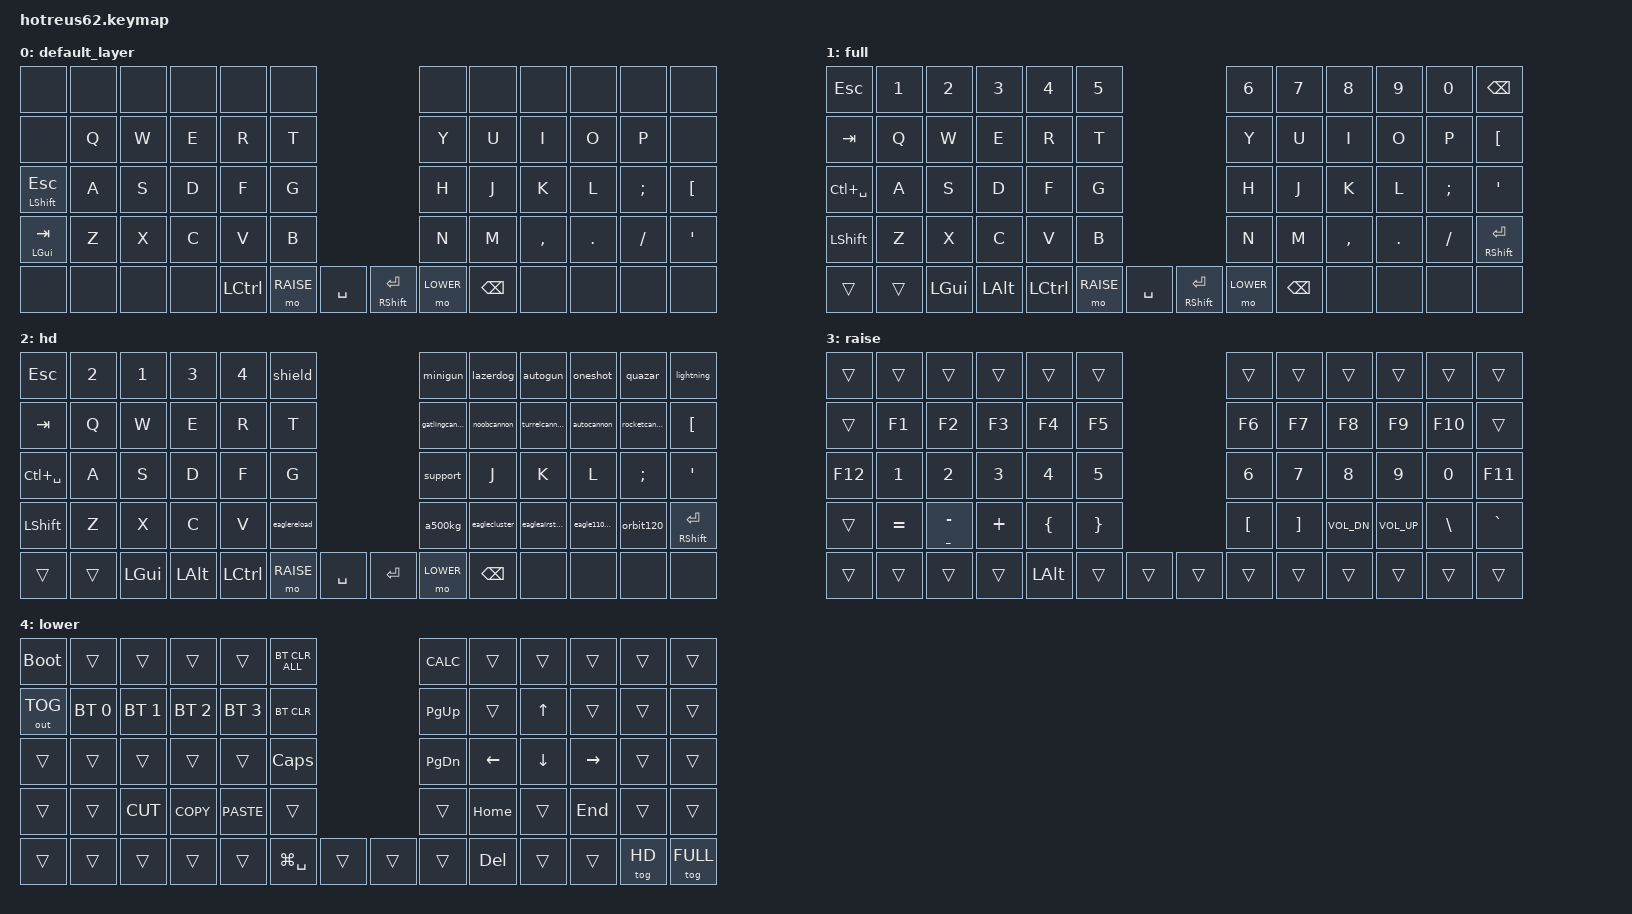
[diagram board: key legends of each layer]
/*
 * Copyright (c) 2022 The ZMK Contributors
 *
 * SPDX-License-Identifier: MIT
 */

#include <behaviors.dtsi>
#include <dt-bindings/zmk/keys.h>
#include <dt-bindings/zmk/bt.h>
#include <dt-bindings/zmk/outputs.h>

#define NONE 0
#define FULL 1
#define HD 2
#define RAISE 3
#define LOWER 4

// #define SOME_THING 4 // need to update this layer what should this be called??
// #define MEDIA 5
// #define FUNC 6

/ {
    macros {
        support: support {
            compatible = "zmk,behavior-macro";
            #binding-cells = <0>;
            bindings
                = <&macro_press &kp LCTRL>
                , <&macro_tap &kp W &kp S &kp D &kp A &kp W>
                , <&macro_release &kp LCTRL>
                ;
        };
        minigun: minigun {
            compatible = "zmk,behavior-macro";
            #binding-cells = <0>;
            bindings
                = <&macro_press &kp LCTRL>
                , <&macro_tap &kp S &kp A &kp S &kp W &kp D>
                , <&macro_release &kp LCTRL>
                ;
        };
        autogun: autogun {
            compatible = "zmk,behavior-macro";
            #binding-cells = <0>;
            bindings
                = <&macro_press &kp LCTRL>
                , <&macro_tap &kp S &kp A &kp S &kp W &kp W &kp D>
                , <&macro_release &kp LCTRL>
                ;
        };
        quazar: quazar {
            compatible = "zmk,behavior-macro";
            #binding-cells = <0>;
            bindings
                = <&macro_press &kp LCTRL>
                , <&macro_tap &kp S &kp S &kp W &kp A &kp D>
                , <&macro_release &kp LCTRL>
                ;
        };
        lightning: lightning {
            compatible = "zmk,behavior-macro";
            #binding-cells = <0>;
            bindings
                = <&macro_press &kp LCTRL>
                , <&macro_tap &kp S &kp D &kp S &kp W &kp A &kp A>
                , <&macro_release &kp LCTRL>
                ;
        };
        lazerdog: lazerdog {
            compatible = "zmk,behavior-macro";
            #binding-cells = <0>;
            bindings
                = <&macro_press &kp LCTRL>
                , <&macro_tap &kp S &kp W &kp A &kp W &kp D &kp D>
                , <&macro_release &kp LCTRL>
                ;
        };
        shield: shield {
            compatible = "zmk,behavior-macro";
            #binding-cells = <0>;
            bindings
                = <&macro_press &kp LCTRL>
                , <&macro_tap &kp S &kp W &kp A &kp D &kp A &kp D>
                , <&macro_release &kp LCTRL>
                ;
        };
        oneshot: oneshot {
            compatible = "zmk,behavior-macro";
            #binding-cells = <0>;
            bindings 
                = <&macro_press &kp LCTRL>
                , <&macro_tap &kp S &kp S &kp A &kp W &kp D>
                , <&macro_release &kp LCTRL>
                ;
        };
        gatlingcannon: gatlingcannon {
            compatible = "zmk,behavior-macro";
            #binding-cells = <0>;
            bindings
                = <&macro_press &kp LCTRL>
                , <&macro_tap &kp S &kp W &kp D &kp A>
                , <&macro_release &kp LCTRL>
                ;
        };
        noobcannon: noobcannon {
            compatible = "zmk,behavior-macro";
            #binding-cells = <0>;
            bindings
                = <&macro_press &kp LCTRL>
                , <&macro_tap &kp S &kp W &kp D &kp D &kp S>
                , <&macro_release &kp LCTRL>
                ;
        };
        turrelcannon: turrelcannon {
            compatible = "zmk,behavior-macro";
            #binding-cells = <0>;
            bindings
                = <&macro_press &kp LCTRL>
                , <&macro_tap &kp S &kp W &kp D &kp D &kp W>
                , <&macro_release &kp LCTRL>
                ;
        };
        autocannon: autocannon {
            compatible = "zmk,behavior-macro";
            #binding-cells = <0>;
            bindings
                = <&macro_press &kp LCTRL>
                , <&macro_tap &kp S &kp W &kp D &kp W &kp A &kp W>
                , <&macro_release &kp LCTRL>
                ;
        };
        rocketcannon: rocketcannon {
            compatible = "zmk,behavior-macro";
            #binding-cells = <0>;
            bindings
                = <&macro_press &kp LCTRL>
                , <&macro_tap &kp S &kp W &kp D &kp D &kp A>
                , <&macro_release &kp LCTRL>
                ;
        };
        eaglereload: eaglereload {
            compatible = "zmk,behavior-macro";
            #binding-cells = <0>;
            bindings
                = <&macro_press &kp LCTRL>
                , <&macro_tap &kp W &kp W &kp A &kp W &kp D>
                , <&macro_release &kp LCTRL>
                ;
        };
        eaglecluster: eaglecluster {
            compatible = "zmk,behavior-macro";
            #binding-cells = <0>;
            bindings
                = <&macro_press &kp LCTRL>
                , <&macro_tap &kp W &kp D &kp S &kp S &kp D>
                , <&macro_release &kp LCTRL>
                ;
        };
        eagleairstrike: eagleairstrike {
            compatible = "zmk,behavior-macro";
            #binding-cells = <0>;
            bindings
                = <&macro_press &kp LCTRL>
                , <&macro_tap &kp W &kp D &kp S &kp D>
                , <&macro_release &kp LCTRL>
                ;
        };
        eagle110mm: eagle110mm {
            compatible = "zmk,behavior-macro";
            #binding-cells = <0>;
            bindings
                = <&macro_press &kp LCTRL>
                , <&macro_tap &kp W &kp D &kp W &kp A>
                , <&macro_release &kp LCTRL>
                ;
        };
        orbit120: orbit120 {
            compatible = "zmk,behavior-macro";
            #binding-cells = <0>;
            bindings
                = <&macro_press &kp LCTRL>
                , <&macro_tap &kp D &kp D &kp S &kp A &kp D &kp S>
                , <&macro_release &kp LCTRL>
                ;
        };
        a500kg: a500kg {
            compatible = "zmk,behavior-macro";
            #binding-cells = <0>;
            bindings
                = <&macro_press &kp LCTRL>
                , <&macro_tap &kp W &kp D &kp S &kp S &kp S>
                , <&macro_release &kp LCTRL>
                ;
        };
    };
};

/ {
    keymap {
        compatible = "zmk,keymap";

        default_layer {
            // -------------------------------------------------------------------------------------------------------------------
            // |       |      |      |      |      |        |-----------|-----------|       |       |      |      |       |      |
            // |       |  Q   |  W   |  E   |  R   |  T     |-----------|-----------|   Y   |  U    |  I   |  O   |   P   |      |
            // |SHF/ESC|  A   |  S   |  D   |  F   |  G     |-----------|-----------|   H   |  J    |  K   |  L   |   ;   |  [   |
            // |TAB/GUI|  Z   |  X   |  C   |  V   |  B     |-----------|-----------|   N   |  M    |  ,   |  .   |   /   |  '   |
            // |       |      |      |      | LCTRL| RAISE  | SPACE     | ENT/SHIFT | LOWER |BKSPACE|      |      |       | FULL |
            bindings = <
                &none          &none  &none    &none    &none      &none                               &none      &none         &none     &none     &none     &none 
                &none          &kp Q  &kp W    &kp E    &kp R      &kp T                               &kp Y      &kp U         &kp I     &kp O     &kp P     &none
                &mt LSHIFT ESC &kp A  &kp S    &kp D    &kp F      &kp G                               &kp H      &kp J         &kp K     &kp L     &kp SEMI  &kp LBKT
                &mt LGUI TAB   &kp Z  &kp X    &kp C    &kp V      &kp B                               &kp N      &kp M         &kp COMMA &kp DOT   &kp FSLH  &kp SQT
                &none          &none  &none    &none    &kp LCTRL  &mo RAISE &kp SPACE &mt RSHFT ENTER &mo LOWER  &kp BACKSPACE &none     &none     &none     &none
            >;
        };

        full {
            // ---------------------------------------------------------------------------------------------------------------
            // |  ESC  |  1   |  2   |  3   |  4   |  5     |-------|-------|   6   |  7    |  8   |  9   |   0   |BACKSPACE |
            // |  TAB  |  Q   |  W   |  E   |  R   |  T     |-------|-------|   Y   |  U    |  I   |  O   |   P   |  [       |
            // | LANG  |  A   |  S   |  D   |  F   |  G     |-------|-------|   H   |  J    |  K   |  L   |   ;   |  '       |
            // | SHIFT |  Z   |  X   |  C   |  V   |  B     |-------|-------|   N   |  M    |  ,   |  .   |   /   | ENT/SHIFT|
            // |       |      | LGUI | LALT | LCTRL| RAISE  | SPACE | ENTER | LOWER |       |      |      |       |   FULL   |
            bindings = <
                &kp ESC        &kp N1 &kp N2   &kp N3   &kp N4     &kp N5                              &kp N6     &kp N7         &kp N8    &kp N9    &kp N0    &kp BACKSPACE
                &kp TAB        &kp Q  &kp W    &kp E    &kp R      &kp T                               &kp Y      &kp U          &kp I     &kp O     &kp P     &kp LBKT
                &kp LC(SPACE)  &kp A  &kp S    &kp D    &kp F      &kp G                               &kp H      &kp J          &kp K     &kp L     &kp SEMI  &kp SQT
                &kp LSHFT      &kp Z  &kp X    &kp C    &kp V      &kp B                               &kp N      &kp M          &kp COMMA &kp DOT   &kp FSLH  &mt RSHFT ENTER
                &trans         &trans &kp LGUI &kp LALT &kp LCTRL  &mo RAISE &kp SPACE &mt RSHFT ENTER &mo LOWER  &kp BACKSPACE  &none     &none     &none     &none
            >;
        };        
        
        hd {
            // ----------------------------------------------------------------------------------------------------------------------------------
            // |  ESC  |  1   |  2   |  3   |  4   |  5     |-------|-------| NIMIGUN  | LAZERDOG  | AUTOGUN      |  9         |   0      | BACKSPACE |
            // |  TAB  |  Q   |  W   |  E   |  R   |  T     |-------|-------| GATLING  |  MINE     |  TURREL      | AUTOCANNON | ROCKET   |   [       |
            // | LANG  |  A   |  S   |  D   |  F   |  G     |-------|-------| RESPAWN  |  J        |  K           |  L         |   ;      |   '       |
            // | SHIFT |  Z   |  X   |  C   |  V   |  B     |-------|-------| E:RELOAD | E:CLUSTER |  E:AIRSTRIKE | E:110mm    | ORBIT120 | ENT/SHIFT |
            // |       |      | LGUI | LALT | LCTRL| RAISE  | SPACE | ENTER | LOWER    |           |              |            |          |           |
            bindings = <
                &kp ESC        &kp N2 &kp N1   &kp N3   &kp N4     &shield                         &minigun       &lazerdog     &autogun        &oneshot     &quazar       &lightning
                &kp TAB        &kp Q  &kp W    &kp E    &kp R      &kp T                           &gatlingcannon &noobcannon   &turrelcannon   &autocannon  &rocketcannon &kp LBKT
                &kp LC(SPACE)  &kp A  &kp S    &kp D    &kp F      &kp G                           &support       &kp J         &kp K           &kp L        &kp SEMI      &kp SQT
                &kp LSHFT      &kp Z  &kp X    &kp C    &kp V      &eaglereload                    &a500kg        &eaglecluster &eagleairstrike &eagle110mm  &orbit120     &mt RSHFT ENTER
                &trans         &trans &kp LGUI &kp LALT &kp LCTRL  &mo RAISE &kp SPACE &kp ENTER   &mo LOWER      &kp BACKSPACE &none           &none        &none         &none
            >;
        };
    


        raise {
            // ----------------------------------------------------------------------------------------------------------------------------
            // |       |        |        |        |        |        |-------|-------|        |        |        |        |        |        |
            // |       |   F1   |   F2   |   F3   |   F4   |   F5   |-------|-------|   F6   |   F7   |   F8   |   F9   |   F10  |        |
            // |       |    1   |    2   |    3   |    4   |    5   |-------|-------|    6   |    7   |    8   |    9   |    0   |   F11  |
            // | GRAVE |    =   |   -/_  |   +    |   {    |   }    |-------|-------|   [    |   ]    |  VOL+  |  VOL-  |    \   |    `   |
            // |       |        |        |        |  LALT  |        |       |       |        |        |        |        |        |        |
            bindings = <
                &trans     &trans    &trans           &trans   &trans     &trans                  &trans     &trans    &trans       &trans         &trans        &trans
                &trans     &kp F1    &kp F2           &kp F3   &kp F4     &kp F5                  &kp F6     &kp F7    &kp F8       &kp F9         &kp F10       &trans
                &kp F12    &kp N1    &kp N2           &kp N3   &kp N4     &kp N5                  &kp N6     &kp N7    &kp N8       &kp N9         &kp N0        &kp F11
                &trans     &kp EQUAL &mt UNDER MINUS  &kp PLUS &kp LBRC   &kp RBRC                &kp LBKT   &kp RBKT  &kp C_VOL_DN &kp C_VOL_UP   &kp BACKSLASH &kp GRAVE 
                &trans     &trans    &trans           &trans   &kp LALT   &trans    &trans &trans &trans     &trans    &trans       &trans         &trans        &trans
            >;
        };

        lower {
            // ----------------------------------------------------------------------------------------------------------------------------
            // | RESET |        |        |        |        |        |-------|-------|  CALC  |        |        |        |        |        |
            // |OUT_TOG|   BT0  |  BT1   |   BT2  |   BT3  |   BT4  |-------|-------| P DOWN |        |  UP    |        |        |        |
            // |       |        |        |        |        |CAPSLOCK|-------|-------|  P UP  |  LEFT  |  DOWN  |  RIGHT |        |        |
            // |       |        |        |        |        |        |-------|-------|        |  HOME  |        |  END   |        |        |
            // |       |        |        |        |        |  LGUI  |       |       |        | DELETE |        |        |        |        |
            bindings = <
                &bootloader  &trans       &trans       &trans       &trans       &bt BT_CLR_ALL                &kp K_CALC      &trans     &trans    &trans     &trans    &trans
                &out OUT_TOG &bt BT_SEL 0 &bt BT_SEL 1 &bt BT_SEL 2 &bt BT_SEL 3 &bt BT_CLR                    &kp PAGE_UP     &trans     &kp UP    &trans     &trans    &trans
                &trans       &trans       &trans       &trans       &trans       &kp CAPSLOCK                  &kp PAGE_DOWN   &kp LEFT   &kp DOWN  &kp RIGHT  &trans    &trans
                &trans       &trans       &kp K_CUT    &kp K_COPY   &kp K_PASTE  &trans                        &trans          &kp HOME   &trans    &kp END    &trans    &trans
                &trans       &trans       &trans       &trans       &trans       &kp LG(SPACE) &trans  &trans  &trans          &kp DELETE &trans    &trans     &tog HD   &tog FULL
            >;
        };

        // control {
        //     // ----------------------------------------------------------------------------------------------------------
        //     // |tog(4)|  F2  |  F3  |  F4  |  F5  |  F6  |------|------|  F7  |  F8  |  F9  |  F10 |  F11 |    F12    |
        //     // |      |  NA  |  NA  |  NA  |  NA  |  NA  |------|------|  NA  |  NA  |  NA  |  NA  |  NA  |LALT(PRTSN)|
        //     // |      |  NA  |  NA  |  NA  |  NA  |  NA  |------|------|  NA  |  NA  |  NA  |  NA  |  NA  |   PRTSN   |
        //     // |      |  NA  |  NA  |  NA  |  NA  |  NA  |------|------|  NA  |  NA  |  NA  |  NA  |  NA  |LCTRL(DEL) |
        //     // |      |      |      |      |      |      |BOOTLD|BOOTLD|      |      |      |      |      |-----------|
        //     bindings = <
        //         &tog 4 &kp F2 &kp F3 &kp F4 &kp F5 &kp F6                         &kp F7 &kp F8 &kp F9 &kp F10 &kp F11 &kp F12
        //         &trans &none  &none  &none  &none  &none                          &none  &none  &none  &none   &none   &kp LA(PSCRN)
        //         &trans &none  &none  &none  &none  &none                          &none  &none  &none  &none   &none   &kp PSCRN
        //         &trans &none  &none  &none  &none  &none                          &none  &none  &none  &none   &none   &kp LC(DEL)
        //         &trans &trans &trans &trans &trans &trans &bootloader &bootloader &trans &trans &trans &trans  &trans  &trans
        //     >;
        // };

        // SOME_THING {
        //     bindings = <
        //         &bootloader &trans  &trans  &trans  &trans  &trans                  &kp N6  &kp N8  &kp N9  &trans &trans &trans
        //         &trans      &trans  &trans  &trans  &trans  &trans                  &kp N4  &kp N5  &kp N6  &trans &trans &trans
        //         &trans      &trans  &trans  &trans  &trans  &trans                  &kp N1  &kp N2  &kp N3  &trans &trans &trans
        //         &trans      &trans  &trans  &trans  &trans  &trans                  &trans  &kp N0  &trans  &trans &trans &trans
        //         &trans      &trans  &trans  &trans  &trans  &trans  &trans  &trans  &trans  &trans  &trans  &trans &trans &trans

        //     >;
        // };
/*
        flock {
            // ----------------------------------------------------------------------------------------------------------------------------
            // |       |        |        |        |        |        |-------|-------|        |        |        |        |        |        |
            // |       |        |        |        |        |        |-------|-------|        |        |        |        |        |        |
            // |       |        |        |        |        |        |-------|-------|        |        |        |        |        |        |
            // |       |        |        |        |        |        |-------|-------|        |        |        |        |        |        |
            // |       |        |        |        |        |        |       |       |        |        |        |        |        |        |
            bindings = <
                &tog 4       &kp F2       &kp F3       &kp F4       &kp F5       &kp F6                     &kp F7     &kp F8     &kp F9     &kp F10 &kp F11 &trans
                &out OUT_TOG &bt BT_SEL 0 &bt BT_SEL 1 &bt BT_SEL 2 &bt BT_SEL 3 &bt BT_SEL 4               &bt BT_PRV &bt BT_NXT &bt BT_CLR &trans  &trans  &trans
                &trans       &trans       &trans       &trans       &trans       &trans                     &trans     &trans     &trans     &trans  &trans  &trans
                &trans       &trans       &trans       &trans       &trans       &trans                     &trans     &trans     &trans     &trans  &trans  &trans
                &trans       &trans       &trans       &trans       &trans       &trans       &trans &trans &trans     &trans     &trans     &trans  &trans  &trans
            >;
        };*/
    };
};

            // ----------------------------------------------------------------------------------------------------------------------------
            // |       |        |        |        |        |        |-------|-------|        |        |        |        |        |        |
            // |       |        |        |        |        |        |-------|-------|        |        |        |        |        |        |
            // |       |        |        |        |        |        |-------|-------|        |        |        |        |        |        |
            // |       |        |        |        |        |        |-------|-------|        |        |        |        |        |        |
            // |       |        |        |        |        |        |       |       |        |        |        |        |        |        |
